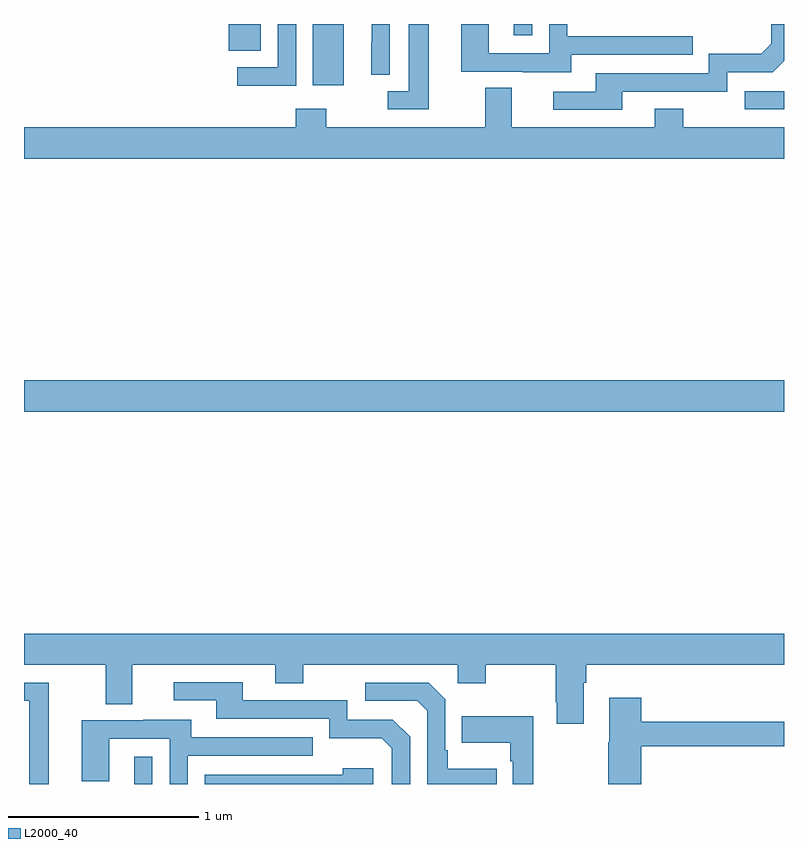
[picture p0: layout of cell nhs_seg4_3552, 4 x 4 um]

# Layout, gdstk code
import gdstk
lib = gdstk.Library(unit=1e-6, precision=1e-09)
def R(c, l, rs):  # rectangles x0, y0, x1, y1
    for r in rs: c.add(gdstk.rectangle(r[:2], r[2:], *l))
def P(c, l, *ps):  # polygons
    for p in ps: c.add(gdstk.Polygon(p, *l))
L2000_40 = (2000, 40)

nhs_seg4_3552 = lib.new_cell('nhs_seg4_3552')
R(nhs_seg4_3552, L2000_40, [(299.579,754.9,299.676,755.044), (299,756.86,303,757.024), (302.793,758.451,303,758.547), (300.521,758.577,300.682,758.9), (300.077,758.758,300.247,758.9), (301.577,758.841,301.674,758.9)])
P(nhs_seg4_3552, L2000_40, [(300.432,758.9),(300.336,758.9),(300.336,758.673),(300.123,758.673),(300.123,758.575),(300.432,758.575)],
  [(300.924,758.9),(300.83,758.9),(300.83,758.804),(300.827,758.804),(300.827,758.632),(300.924,758.632)],
  [(301.129,758.9),(301.025,758.9),(301.025,758.547),(300.915,758.547),(300.915,758.451),(301.129,758.451)],
  [(301.879,758.739),(302.519,758.739),(302.519,758.835),(301.86,758.835),(301.86,758.9),(301.764,758.9),(301.764,758.745),(301.446,758.745),(301.446,758.9),(301.301,758.9),(301.301,758.649),(301.625,758.649),(301.625,758.645),(301.879,758.645)],
  [(302.149,758.544),(302.7,758.544),(302.7,758.646),(302.94,758.646),(303,758.706),(303,758.9),(302.934,758.9),(302.934,758.796),(302.881,758.743),(302.604,758.743),(302.604,758.64),(302.009,758.64),(302.009,758.544),(301.785,758.544),(301.785,758.448),(302.149,758.448)],
  [(303,758.356),(302.469,758.356),(302.469,758.455),(302.321,758.455),(302.321,758.356),(301.567,758.356),(301.567,758.564),(301.427,758.564),(301.427,758.356),(300.591,758.356),(300.591,758.455),(300.431,758.455),(300.431,758.356),(299,758.356),(299,758.192),(303,758.192)],
  [(301.945,755.432),(301.958,755.432),(301.958,755.528),(303,755.528),(303,755.692),(299,755.692),(299,755.528),(299.429,755.528),(299.429,755.32),(299.569,755.32),(299.569,755.528),(300.323,755.528),(300.323,755.429),(300.471,755.429),(300.471,755.528),(301.284,755.528),(301.284,755.429),(301.431,755.429),(301.431,755.528),(301.798,755.528),(301.798,755.329),(301.805,755.329),(301.805,755.217),(301.945,755.217)],
  [(301.032,755.148),(300.942,755.238),(300.702,755.238),(300.702,755.34),(300.151,755.34),(300.151,755.436),(299.787,755.436),(299.787,755.34),(300.011,755.34),(300.011,755.244),(300.606,755.244),(300.606,755.141),(300.883,755.141),(300.936,755.088),(300.936,754.9),(301.032,754.9)],
  [(299.131,755.433),(299,755.433),(299,755.337),(299.027,755.337),(299.027,754.9),(299.131,754.9)],
  [(301.487,754.981),(301.231,754.981),(301.231,755.077),(301.218,755.077),(301.218,755.346),(301.131,755.433),(300.795,755.433),(300.795,755.337),(301.071,755.337),(301.122,755.286),(301.122,754.9),(301.487,754.9)],
  [(302.249,755.098),(303,755.098),(303,755.227),(302.249,755.227),(302.249,755.353),(302.081,755.353),(302.081,755.121),(302.074,755.121),(302.074,754.9),(302.249,754.9)],
  [(301.681,755.257),(301.303,755.257),(301.303,755.117),(301.56,755.117),(301.56,755.021),(301.572,755.021),(301.572,754.9),(301.681,754.9)],
  [(299.862,755.049),(300.521,755.049),(300.521,755.145),(299.881,755.145),(299.881,755.239),(299.627,755.239),(299.627,755.235),(299.303,755.235),(299.303,754.915),(299.448,754.915),(299.448,755.139),(299.766,755.139),(299.766,754.9),(299.862,754.9)],
  [(300.838,754.984),(300.677,754.984),(300.677,754.95),(299.952,754.95),(299.952,754.9),(300.838,754.9)])

lib.write_gds('nhs_seg4_3552.gds')
